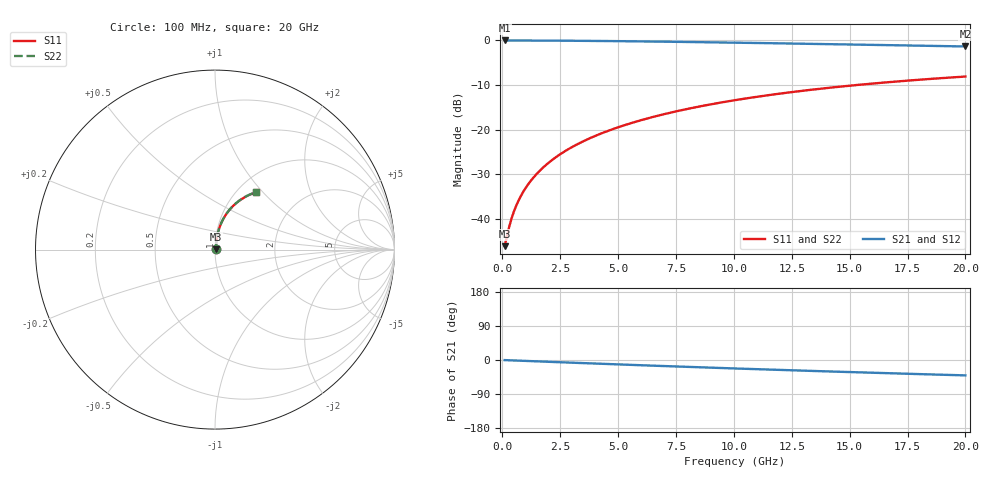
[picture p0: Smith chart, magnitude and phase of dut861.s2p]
! Touchstone file exported from HFSS 2024.1.0
!  File:  C:/UserFiles/LocalFiles/RDL_TSV_Batchsim/temp_RDL_bottom_861_1779864598.aedt
!  Generated:  02:52:29 PM May 27, 2026
!  Design:  RDL_bottom
!  Project:  temp_RDL_bottom_861_1779864598
!  Setup:  Setup1
!  Solution:  Sweep
! Variables:
!  dtsv = 10.80580581um
!  hbump = 3um
!  htsv = 53.53um
!  ldown = 584.85um
!  lrdl = 100um
!  p = 40
!  p1 = 40.42um
!  rhole = 1um
!  t = 450um
!  tdown = 2.94um
!  trdl = 3.915915916um
!  wdown = 16.61um
!  wrdl = 20um
# GHz S MA R 50.000000
! Terminal data exported
! Port[1] = RDL1_T1
! Port[2] = RDL1_T2
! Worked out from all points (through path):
!   200 points, 100 MHz to 20 GHz, reference 50 ohm
!   highest |S21| = -0.04 dB at 100 MHz (marker M1); lowest = -1.4 dB at 20 GHz (marker M2)
!   group delay of S21, straight-line fit = 5.62 ps
!   lowest |S11| = -46.1 dB at 100 MHz (marker M3), VSWR 1.01, Z = 50.4 + j0.231 ohm
!   |S11| at or under -10 dB: start of sweep to 15.34 GHz
!   |S22| runs from -46.1 to -8.1 dB; largest |S21 - S12| = 3.7e-15
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0.1  0.004958 27.5  0.9956 -0.2  0.9956 -0.2  0.004958 27.5
! Gamma 0 0 0 0
! Port Impedance 50 0 50 0
0.3  0.008197 55.2  0.9953 -0.7  0.9953 -0.7  0.008197 55.3
0.4  0.01012 61.4  0.9951 -1.0  0.9951 -1.0  0.01012 61.4
0.5  0.01208 65.4  0.9949 -1.2  0.9949 -1.2  0.01208 65.4
0.6  0.01406 68.4  0.9947 -1.5  0.9947 -1.5  0.01406 68.4
0.7  0.01604 70.6  0.9945 -1.7  0.9945 -1.7  0.01604 70.6
0.9  0.02005 73.7  0.9942 -2.2  0.9942 -2.2  0.02005 73.7
1.2  0.02611 76.6  0.9936 -2.9  0.9936 -2.9  0.02611 76.6
1.4  0.03019 77.8  0.9932 -3.3  0.9932 -3.3  0.03019 77.8
1.7  0.03636 79.1  0.9925 -4.1  0.9925 -4.1  0.03636 79.1
2.2  0.04674 80.2  0.9911 -5.2  0.9911 -5.2  0.04674 80.2
2.8  0.05931 80.8  0.989 -6.6  0.989 -6.6  0.05931 80.8
3.5  0.0741 80.7  0.9861 -8.2  0.9861 -8.2  0.07412 80.8
4.2  0.08901 80.4  0.9826 -9.8  0.9826 -9.8  0.08903 80.4
5  0.1062 79.6  0.9781 -11.6  0.9781 -11.6  0.1062 79.7
5.9  0.1255 78.5  0.9724 -13.6  0.9724 -13.6  0.1256 78.6
6.8  0.1449 77.3  0.9662 -15.6  0.9662 -15.6  0.1449 77.3
8.4  0.1791 74.7  0.9542 -19.0  0.9542 -19.0  0.1792 74.8
10.1  0.2147 71.8  0.9404 -22.5  0.9404 -22.5  0.2149 71.9
13.4  0.2804 65.9  0.9118 -28.9  0.9118 -28.9  0.2807 65.9
16.7  0.3401 60.0  0.8822 -34.9  0.8822 -34.9  0.3404 60.1
20  0.3928 54.3  0.8527 -40.6  0.8527 -40.6  0.3933 54.4
